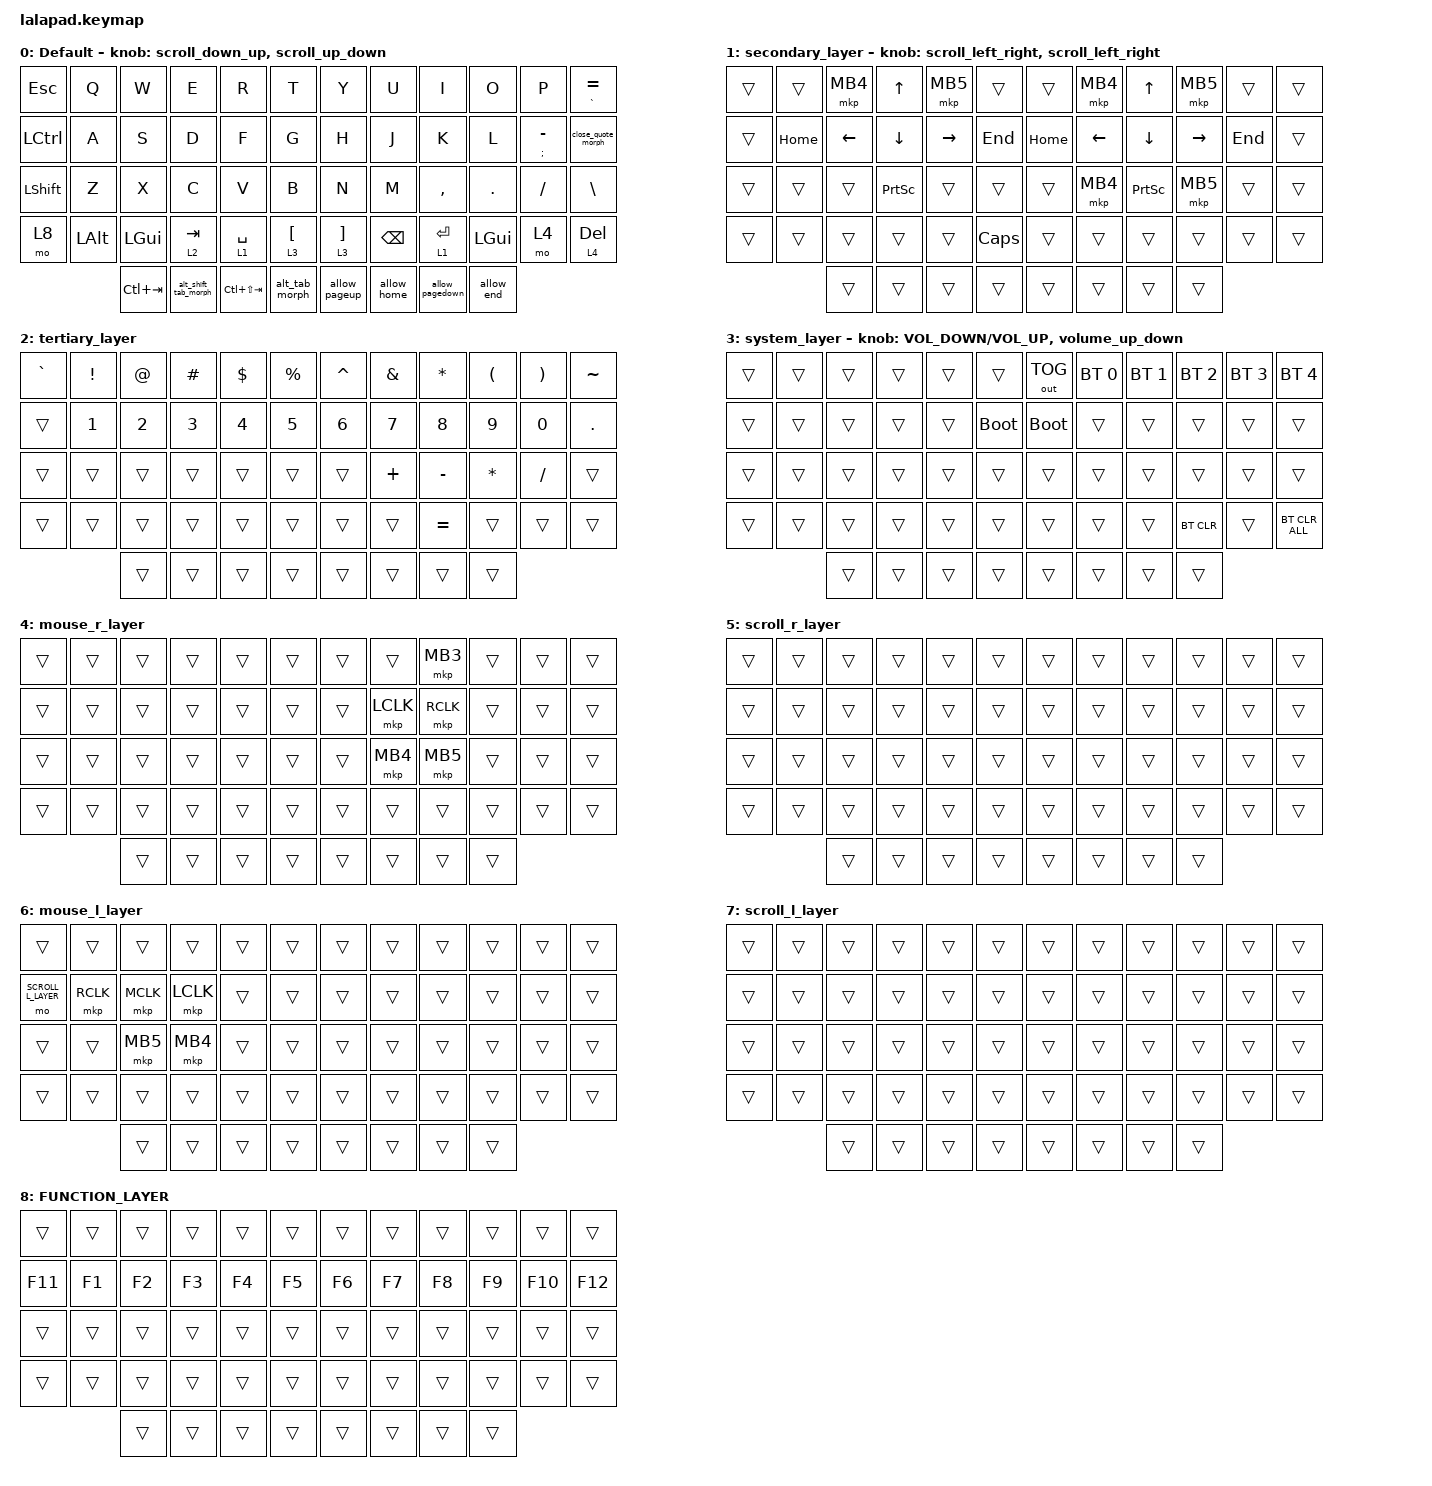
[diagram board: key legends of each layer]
#include <input/processors.dtsi>
#include <behaviors.dtsi>
#include <dt-bindings/zmk/bt.h>
#include <dt-bindings/zmk/keys.h>
#include <dt-bindings/zmk/outputs.h>
#include <dt-bindings/zmk/pointing.h>

#define DEFAULT_LAYER   0
#define SECONDARY_LAYER 1
#define TERTIARY_LAYER  2
#define SYSTEM_LAYER    3
#define MOUSE_R_LAYER   4
#define SCROLL_R_LAYER  5
#define MOUSE_L_LAYER   6
#define SCROLL_L_LAYER  7

// Mouse Scroll Value

#define ZMK_POINTING_DEFAULT_SCRL_VAL 100

// Sticky Key Configuration

&sk {
    release-after-ms = <2000>;  // 5秒間Altを保持
};

// cirque trackpad input&layer control

&glidepoint_listener_R {
    input-processors =
        <&zip_xy_transform (INPUT_TRANSFORM_XY_SWAP | INPUT_TRANSFORM_X_INVERT | INPUT_TRANSFORM_Y_INVERT)>,
        <&zip_xy_scaler 9 5>;

    // was 3 2 (1.5x). Now 2/1 ≈ 2x for a slight speed increase.
    // <&zip_temp_layer MOUSE_R_LAYER 500>; automouse不要なのでコメントアウト

    lowspeedmode {
        layers = <SECONDARY_LAYER>;
        input-processors =
            <&zip_xy_transform (INPUT_TRANSFORM_XY_SWAP | INPUT_TRANSFORM_X_INVERT | INPUT_TRANSFORM_Y_INVERT)>,
            <&zip_xy_scaler 3 5>;

        // <&zip_temp_layer MOUSE_R_LAYER 500>; 不要なのでコメントアウト
    };

    scroller {
        layers = <SCROLL_R_LAYER>;
        input-processors =
            <&zip_xy_to_scroll_mapper>,
            <&zip_scroll_transform (INPUT_TRANSFORM_XY_SWAP | INPUT_TRANSFORM_Y_INVERT)>,
            <&zip_scroll_scaler 1 8>;
    };
};

&glidepoint_listener_L {
    input-processors =
        <&zip_xy_transform (INPUT_TRANSFORM_XY_SWAP | INPUT_TRANSFORM_X_INVERT | INPUT_TRANSFORM_Y_INVERT)>,
        <&zip_xy_scaler 3 2>,
        <&zip_temp_layer MOUSE_L_LAYER 500>;

    lowspeedmode {
        layers = <SECONDARY_LAYER>;
        input-processors =
            <&zip_xy_transform (INPUT_TRANSFORM_XY_SWAP | INPUT_TRANSFORM_X_INVERT | INPUT_TRANSFORM_Y_INVERT)>,
            <&zip_xy_scaler 3 4>,
            <&zip_temp_layer MOUSE_L_LAYER 500>;
    };

    scroller {
        layers = <SCROLL_L_LAYER>;
        input-processors =
            <&zip_xy_to_scroll_mapper>,
            <&zip_scroll_transform (INPUT_TRANSFORM_XY_SWAP | INPUT_TRANSFORM_Y_INVERT)>,
            <&zip_scroll_scaler 1 6>;
    };
};

/ {
    behaviors {
        // Encoder to Mouse Scroll

        scroll_up_down: sensor_scroll_up_down {
            compatible = "zmk,behavior-sensor-rotate";
            #sensor-binding-cells = <0>;
            bindings = <&msc SCRL_UP>, <&msc SCRL_DOWN>;

            tap-ms = <20>;
            label = "SCROLL_UP_DOWN";
        };

        scroll_down_up: sensor_scroll_down_up {
            compatible = "zmk,behavior-sensor-rotate";
            #sensor-binding-cells = <0>;
            bindings = <&msc SCRL_DOWN>, <&msc SCRL_UP>;

            tap-ms = <20>;
            label = "SCROLL_DOWN_UP";
        };

        scroll_left_right: sensor_scroll_left_right {
            compatible = "zmk,behavior-sensor-rotate";
            #sensor-binding-cells = <0>;
            bindings = <&msc SCRL_LEFT>, <&msc SCRL_RIGHT>;

            tap-ms = <20>;
            label = "SCROLL_LEFT_RIGHT";
        };

        scroll_right_left: sensor_scroll_right_left {
            compatible = "zmk,behavior-sensor-rotate";
            #sensor-binding-cells = <0>;
            bindings = <&msc SCRL_RIGHT>, <&msc SCRL_LEFT>;

            tap-ms = <20>;
            label = "SCROLL_RIGHT_LEFT";
        };

        volume_up_down: sensor_volume_up_down {
            compatible = "zmk,behavior-sensor-rotate";
            #sensor-binding-cells = <0>;
            bindings = <&kp C_VOLUME_UP>, <&kp C_VOLUME_DOWN>;

            tap-ms = <20>;
            label = "VOLUME_UP_DOWN";
        };

        dot_comma: dot_comma {
            compatible = "zmk,behavior-mod-morph";
            #binding-cells = <0>;
            bindings = <&kp KP_DOT>, <&kp COMMA>;

            mods = <(MOD_LSFT|MOD_RSFT)>;
            label = "DOT_COMMA";
        };

        pls_minus: pls_minus {
            compatible = "zmk,behavior-mod-morph";
            #binding-cells = <0>;
            bindings = <&kp PLUS>, <&kp MINUS>;

            mods = <(MOD_LSFT|MOD_RSFT)>;
            label = "PLS_MINUS";
        };

        allow_pageup: allow_pageup {
            compatible = "zmk,behavior-mod-morph";
            #binding-cells = <0>;
            bindings = <&kp UP>, <&kp PAGE_UP>;

            mods = <(MOD_LCTL|MOD_RCTL)>;
            label = "ALLOW_PAGEUP";
        };

        allow_pagedown: allow_pagedown {
            compatible = "zmk,behavior-mod-morph";
            #binding-cells = <0>;
            bindings = <&kp DOWN>, <&kp PAGE_DOWN>;

            mods = <(MOD_LCTL|MOD_RCTL)>;
            label = "ALLOW_PAGEDOWN";
        };

        allow_home: allow_home {
            compatible = "zmk,behavior-mod-morph";
            #binding-cells = <0>;
            bindings = <&kp LEFT>, <&kp HOME>;

            mods = <(MOD_LCTL|MOD_RCTL)>;
            label = "ALLOW_HOME";
        };

        allow_end: allow_end {
            compatible = "zmk,behavior-mod-morph";
            #binding-cells = <0>;
            bindings = <&kp RIGHT>, <&kp END>;

            mods = <(MOD_LCTL|MOD_RCTL)>;
            label = "ALLOW_END";
        };

        mt2: mod_tap2 {
            compatible = "zmk,behavior-hold-tap";
            #binding-cells = <2>;
            flavor = "tap-preferred";
            tapping-term-ms = <200>;
            quick-tap-ms = <200>;
            require-prior-idle-ms = <125>;
            bindings = <&kp>, <&kp>;
        };

        // Close quote with mod-morph for single/double quotes

        close_quote_morph: close_quote_morph {
            compatible = "zmk,behavior-mod-morph";
            #binding-cells = <0>;
            bindings = <&close_single_quote>, <&close_double_quote>;

            mods = <(MOD_LSFT|MOD_RSFT)>;
            label = "CLOSE_QUOTE_MORPH";
        };

        // Alt-Tab switcher with mod-morph
        // If Alt is already pressed (by sticky key), just send Tab
        // Otherwise, activate sticky Alt and send Tab

        alt_tab_morph: alt_tab_morph {
            compatible = "zmk,behavior-mod-morph";
            #binding-cells = <0>;
            bindings = <&sk_alt_tab>, <&kp TAB>;

            mods = <(MOD_LALT|MOD_RALT)>;
            label = "ALT_TAB_MORPH";
        };

        // Alt-Shift-Tab switcher with mod-morph

        alt_shift_tab_morph: alt_shift_tab_morph {
            compatible = "zmk,behavior-mod-morph";
            #binding-cells = <0>;
            bindings = <&sk_alt_shift_tab>, <&shift_tab>;

            mods = <(MOD_LALT|MOD_RALT)>;
            label = "ALT_SHIFT_TAB_MORPH";
        };
    };

    combos { compatible = "zmk,combos"; };

    macros {
        // Single quote macro

        close_single_quote: close_single_quote {
            compatible = "zmk,behavior-macro";
            #binding-cells = <0>;
            bindings =
                <&macro_tap>,
                <&kp SINGLE_QUOTE &kp SINGLE_QUOTE>,
                <&macro_tap>,
                <&kp LEFT>;

            label = "CLOSE_SINGLE_QUOTE";
        };

        // Double quote macro with shift handling

        close_double_quote: close_double_quote {
            compatible = "zmk,behavior-macro";
            #binding-cells = <0>;
            bindings =
                <&macro_release>,
                <&kp LSHFT &kp RSHFT>,
                <&macro_tap>,
                <&kp LS(SINGLE_QUOTE) &kp LS(SINGLE_QUOTE)>,
                <&macro_pause_for_release>,
                <&macro_tap>,
                <&kp LEFT>;

            label = "CLOSE_DOUBLE_QUOTE";
        };

        // Sticky Alt + Tab macro (first press only)

        sk_alt_tab: sk_alt_tab {
            compatible = "zmk,behavior-macro";
            #binding-cells = <0>;
            bindings = <&macro_tap>, <&sk LALT>, <&macro_tap>, <&kp TAB>;

            label = "SK_ALT_TAB";
        };

        // Sticky Alt + Shift + Tab macro (first press only)

        sk_alt_shift_tab: sk_alt_shift_tab {
            compatible = "zmk,behavior-macro";
            #binding-cells = <0>;
            bindings =
                <&macro_tap>,
                <&sk LALT>,
                <&macro_press>,
                <&kp LSHFT>,
                <&macro_tap>,
                <&kp TAB>,
                <&macro_release>,
                <&kp LSHFT>;

            label = "SK_ALT_SHIFT_TAB";
        };

        // Just Shift+Tab (when Alt is already active)

        shift_tab: shift_tab {
            compatible = "zmk,behavior-macro";
            #binding-cells = <0>;
            bindings =
                <&macro_press>,
                <&kp LSHFT>,
                <&macro_tap>,
                <&kp TAB>,
                <&macro_release>,
                <&kp LSHFT>;

            label = "SHIFT_TAB";
        };
    };

    keymap {
        compatible = "zmk,keymap";

        DEFAULT_LAYER {
            display-name = "Default";
            sensor-bindings = <&scroll_down_up>, <&scroll_up_down>;

            bindings = <
&kp ESC    &kp Q     &kp W         &kp E                 &kp R            &kp T               &kp Y                &kp U          &kp I            &kp O         &kp P                 &mt GRAVE EQUAL
&kp LCTRL  &kp A     &kp S         &kp D                 &kp F            &kp G               &kp H                &kp J          &kp K            &kp L         &mt2 SEMICOLON MINUS  &close_quote_morph
&kp LSHFT  &kp Z     &kp X         &kp C                 &kp V            &kp B               &kp N                &kp M          &kp COMMA        &kp PERIOD    &kp FSLH              &kp BSLH
&mo 8      &kp LALT  &kp LEFT_GUI  &lt 2 TAB             &lt 1 SPACE      &lt 3 LEFT_BRACKET  &lt 3 RIGHT_BRACKET  &kp BACKSPACE  &lt 1 ENTER      &kp LEFT_GUI  &mo 4                 &lt 4 DELETE
                     &kp LC(TAB)   &alt_shift_tab_morph  &kp LC(LS(TAB))  &alt_tab_morph      &allow_pageup        &allow_home    &allow_pagedown  &allow_end
            >;
        };

        SECONDARY_LAYER {
            display-name = "secondary_layer";
            sensor-bindings = <&scroll_left_right>, <&scroll_left_right>;

            bindings = <
&trans  &trans    &mkp MB4        &kp UP           &mkp MB5   &trans    &trans    &mkp MB4  &kp UP           &mkp MB5   &trans   &trans
&trans  &kp HOME  &kp LEFT_ARROW  &kp DOWN         &kp RIGHT  &kp END   &kp HOME  &kp LEFT  &kp DOWN         &kp RIGHT  &kp END  &trans
&trans  &trans    &trans          &kp PRINTSCREEN  &trans     &trans    &trans    &mkp MB4  &kp PRINTSCREEN  &mkp MB5   &trans   &trans
&trans  &trans    &trans          &trans           &trans     &kp CAPS  &trans    &trans    &trans           &trans     &trans   &trans
                  &trans          &trans           &trans     &trans    &trans    &trans    &trans           &trans
            >;
        };

        TERTIARY_LAYER {
            display-name = "tertiary_layer";
            bindings = <
&kp GRAVE  &kp EXCLAMATION  &kp AT  &kp POUND  &kp DOLLAR  &kp PERCENT  &kp CARET  &kp AMPERSAND  &kp ASTERISK  &kp LEFT_PARENTHESIS  &kp RIGHT_PARENTHESIS  &kp TILDE
&trans     &kp N1           &kp N2  &kp N3     &kp N4      &kp N5       &kp N6     &kp N7         &kp N8        &kp N9                &kp N0                 &kp DOT
&trans     &trans           &trans  &trans     &trans      &trans       &trans     &kp PLUS       &kp MINUS     &kp ASTRK             &kp FSLH               &trans
&trans     &trans           &trans  &trans     &trans      &trans       &trans     &trans         &kp EQUAL     &trans                &trans                 &trans
                            &trans  &trans     &trans      &trans       &trans     &trans         &trans        &trans
            >;
        };

        SYSTEM_LAYER {
            display-name = "system_layer";
            sensor-bindings =
                <&inc_dec_kp C_VOLUME_DOWN C_VOLUME_UP>,
                <&volume_up_down>;

            bindings = <
&trans  &trans  &trans  &trans  &trans  &trans       &out OUT_TOG  &bt BT_SEL 0  &bt BT_SEL 1  &bt BT_SEL 2  &bt BT_SEL 3  &bt BT_SEL 4
&trans  &trans  &trans  &trans  &trans  &bootloader  &bootloader   &trans        &trans        &trans        &trans        &trans
&trans  &trans  &trans  &trans  &trans  &trans       &trans        &trans        &trans        &trans        &trans        &trans
&trans  &trans  &trans  &trans  &trans  &trans       &trans        &trans        &trans        &bt BT_CLR    &trans        &bt BT_CLR_ALL
                &trans  &trans  &trans  &trans       &trans        &trans        &trans        &trans
            >;
        };

        MOUSE_R_LAYER {
            display-name = "mouse_r_layer";
            bindings = <
&trans  &trans  &trans  &trans  &trans  &trans  &trans  &trans     &mkp MB3   &trans  &trans  &trans
&trans  &trans  &trans  &trans  &trans  &trans  &trans  &mkp LCLK  &mkp RCLK  &trans  &trans  &trans
&trans  &trans  &trans  &trans  &trans  &trans  &trans  &mkp MB4   &mkp MB5   &trans  &trans  &trans
&trans  &trans  &trans  &trans  &trans  &trans  &trans  &trans     &trans     &trans  &trans  &trans
                &trans  &trans  &trans  &trans  &trans  &trans     &trans     &trans
            >;
        };

        SCROLL_R_LAYER {
            display-name = "scroll_r_layer";
            bindings = <
&trans  &trans  &trans  &trans  &trans  &trans  &trans  &trans  &trans  &trans  &trans  &trans
&trans  &trans  &trans  &trans  &trans  &trans  &trans  &trans  &trans  &trans  &trans  &trans
&trans  &trans  &trans  &trans  &trans  &trans  &trans  &trans  &trans  &trans  &trans  &trans
&trans  &trans  &trans  &trans  &trans  &trans  &trans  &trans  &trans  &trans  &trans  &trans
                &trans  &trans  &trans  &trans  &trans  &trans  &trans  &trans
            >;
        };

        MOUSE_L_LAYER {
            display-name = "mouse_l_layer";
            bindings = <
&trans              &trans     &trans     &trans     &trans  &trans  &trans  &trans  &trans  &trans  &trans  &trans
&mo SCROLL_L_LAYER  &mkp RCLK  &mkp MCLK  &mkp LCLK  &trans  &trans  &trans  &trans  &trans  &trans  &trans  &trans
&trans              &trans     &mkp MB5   &mkp MB4   &trans  &trans  &trans  &trans  &trans  &trans  &trans  &trans
&trans              &trans     &trans     &trans     &trans  &trans  &trans  &trans  &trans  &trans  &trans  &trans
                               &trans     &trans     &trans  &trans  &trans  &trans  &trans  &trans
            >;
        };

        SCROLL_L_LAYER {
            display-name = "scroll_l_layer";
            bindings = <
&trans  &trans  &trans  &trans  &trans  &trans  &trans  &trans  &trans  &trans  &trans  &trans
&trans  &trans  &trans  &trans  &trans  &trans  &trans  &trans  &trans  &trans  &trans  &trans
&trans  &trans  &trans  &trans  &trans  &trans  &trans  &trans  &trans  &trans  &trans  &trans
&trans  &trans  &trans  &trans  &trans  &trans  &trans  &trans  &trans  &trans  &trans  &trans
                &trans  &trans  &trans  &trans  &trans  &trans  &trans  &trans
            >;
        };

        FUNCTION_LAYER {
            bindings = <
&trans   &trans  &trans  &trans  &trans  &trans  &trans  &trans  &trans  &trans  &trans   &trans
&kp F11  &kp F1  &kp F2  &kp F3  &kp F4  &kp F5  &kp F6  &kp F7  &kp F8  &kp F9  &kp F10  &kp F12
&trans   &trans  &trans  &trans  &trans  &trans  &trans  &trans  &trans  &trans  &trans   &trans
&trans   &trans  &trans  &trans  &trans  &trans  &trans  &trans  &trans  &trans  &trans   &trans
                 &trans  &trans  &trans  &trans  &trans  &trans  &trans  &trans
            >;
        };
    };
};
